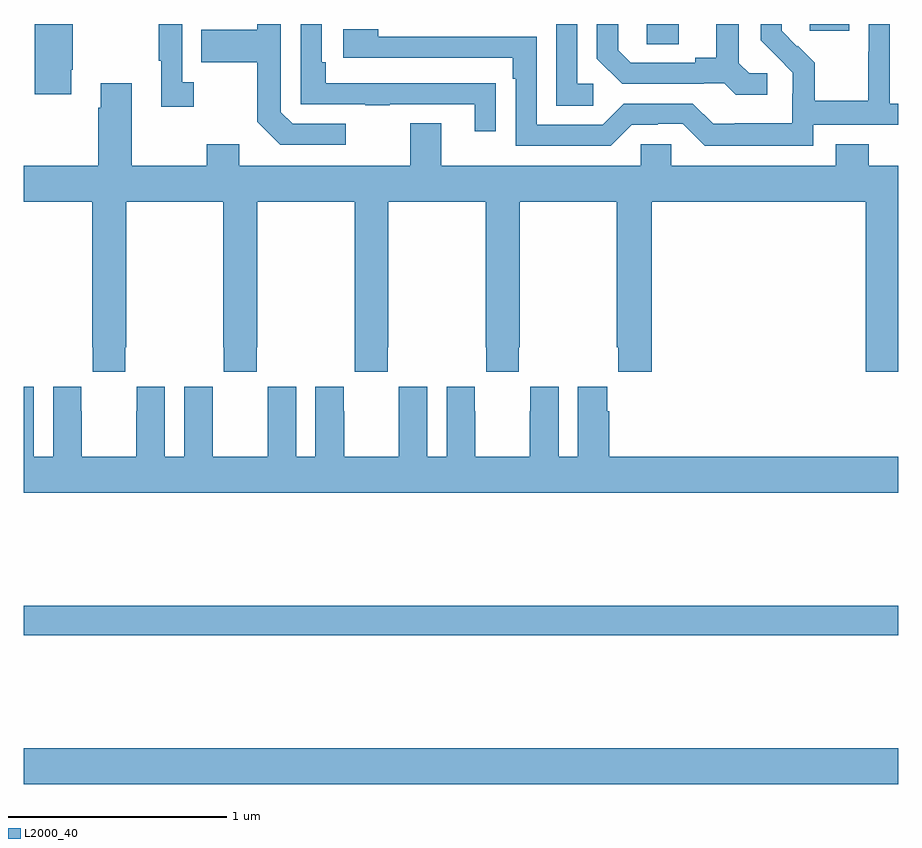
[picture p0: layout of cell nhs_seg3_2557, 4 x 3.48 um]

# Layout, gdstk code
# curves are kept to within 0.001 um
import gdstk
lib = gdstk.Library(unit=1e-6, precision=1e-09)
def R(c, l, rs):  # rectangles x0, y0, x1, y1
    for r in rs: c.add(gdstk.rectangle(r[:2], r[2:], *l))
def P(c, l, *ps):  # polygons
    for p in ps: c.add(gdstk.Polygon(p, *l))
L2000_40 = (2000, 40)

nhs_seg3_2557 = lib.new_cell('nhs_seg3_2557')
R(nhs_seg3_2557, L2000_40, [(243,692.924,247,693.088), (243,693.604,247,693.74), (245.85,696.307,245.995,696.4), (246.596,696.369,246.775,696.4)])
P(nhs_seg3_2557, L2000_40, [(245.159,696.128),(245.057,696.128),(245.057,696.129),(244.382,696.129),(244.382,696.226),(244.362,696.226),(244.362,696.4),(244.266,696.4),(244.266,696.033),(244.561,696.033),(244.561,696.028),(244.673,696.028),(244.673,696.033),(245.063,696.033),(245.063,695.91),(245.159,695.91)],
  [(243.217,696.19),(243.225,696.19),(243.225,696.4),(243.05,696.4),(243.05,696.078),(243.217,696.078)],
  [(246.4,696.174),(246.318,696.174),(246.271,696.221),(246.271,696.4),(246.167,696.4),(246.167,696.245),(246.071,696.245),(246.071,696.222),(245.776,696.222),(245.719,696.279),(245.719,696.4),(245.622,696.4),(245.622,696.242),(245.738,696.126),(246.11,696.126),(246.11,696.129),(246.204,696.129),(246.256,696.077),(246.4,696.077)],
  [(245.605,696.126),(245.532,696.126),(245.532,696.4),(245.436,696.4),(245.436,696.025),(245.605,696.025)],
  [(246.612,695.94),(247,695.94),(247,696.036),(246.96,696.036),(246.96,696.4),(246.864,696.4),(246.864,696.272),(246.862,696.272),(246.862,696.049),(246.617,696.049),(246.617,696.223),(246.54,696.3),(246.537,696.297),(246.467,696.368),(246.467,696.4),(246.372,696.4),(246.372,696.326),(246.518,696.178),(246.518,696.081),(246.516,696.081),(246.516,695.947),(246.253,695.947),(246.253,695.943),(246.153,695.943),(246.06,696.036),(245.745,696.036),(245.649,695.94),(245.346,695.94),(245.346,696.342),(244.622,696.342),(244.622,696.376),(244.461,696.376),(244.461,696.246),(245.237,696.246),(245.237,696.149),(245.25,696.149),(245.25,695.844),(245.685,695.844),(245.781,695.94),(245.9,695.94),(245.9,695.943),(246.015,695.943),(246.115,695.843),(246.612,695.843)],
  [(243.778,696.134),(243.726,696.134),(243.726,696.4),(243.618,696.4),(243.618,696.233),(243.629,696.233),(243.629,696.021),(243.778,696.021)],
  [(244.474,695.943),(244.23,695.943),(244.176,695.997),(244.176,696.4),(244.068,696.4),(244.068,696.373),(243.811,696.373),(243.811,696.226),(244.068,696.226),(244.068,695.953),(244.173,695.847),(244.474,695.847)],
  [(243.465,694.921),(243.468,694.921),(243.468,695.588),(243.913,695.588),(243.913,694.921),(243.915,694.921),(243.915,694.809),(244.065,694.809),(244.065,694.921),(244.068,694.921),(244.068,695.588),(244.513,695.588),(244.513,694.921),(244.515,694.921),(244.515,694.809),(244.665,694.809),(244.665,694.921),(244.668,694.921),(244.668,695.588),(245.113,695.588),(245.113,694.921),(245.115,694.921),(245.115,694.809),(245.265,694.809),(245.265,694.921),(245.268,694.921),(245.268,695.588),(245.713,695.588),(245.713,694.921),(245.719,694.921),(245.719,694.809),(245.873,694.809),(245.873,695.588),(246.851,695.588),(246.851,694.809),(247,694.809),(247,695.752),(246.866,695.752),(246.866,695.851),(246.713,695.851),(246.713,695.752),(245.961,695.752),(245.961,695.85),(245.823,695.85),(245.823,695.752),(244.909,695.752),(244.909,695.947),(244.769,695.947),(244.769,695.752),(243.985,695.752),(243.985,695.851),(243.838,695.851),(243.838,695.752),(243.493,695.752),(243.493,696.13),(243.353,696.13),(243.353,696.017),(243.341,696.017),(243.341,695.752),(243,695.752),(243,695.588),(243.313,695.588),(243.313,694.921),(243.315,694.921),(243.315,694.809),(243.465,694.809)],
  [(247,694.42),(245.678,694.42),(245.678,694.628),(245.668,694.628),(245.668,694.741),(245.534,694.741),(245.534,694.42),(245.446,694.42),(245.446,694.741),(245.316,694.741),(245.316,694.628),(245.315,694.628),(245.315,694.42),(245.065,694.42),(245.065,694.628),(245.064,694.628),(245.064,694.741),(244.934,694.741),(244.934,694.42),(244.846,694.42),(244.846,694.741),(244.716,694.741),(244.716,694.628),(244.715,694.628),(244.715,694.42),(244.465,694.42),(244.465,694.628),(244.464,694.628),(244.464,694.741),(244.334,694.741),(244.334,694.42),(244.246,694.42),(244.246,694.741),(244.116,694.741),(244.116,694.628),(244.115,694.628),(244.115,694.42),(243.865,694.42),(243.865,694.628),(243.864,694.628),(243.864,694.741),(243.734,694.741),(243.734,694.42),(243.646,694.42),(243.646,694.741),(243.516,694.741),(243.516,694.628),(243.515,694.628),(243.515,694.42),(243.265,694.42),(243.265,694.628),(243.264,694.628),(243.264,694.741),(243.134,694.741),(243.134,694.42),(243.046,694.42),(243.046,694.741),(243,694.741),(243,694.256),(247,694.256)])

lib.write_gds('nhs_seg3_2557.gds')
